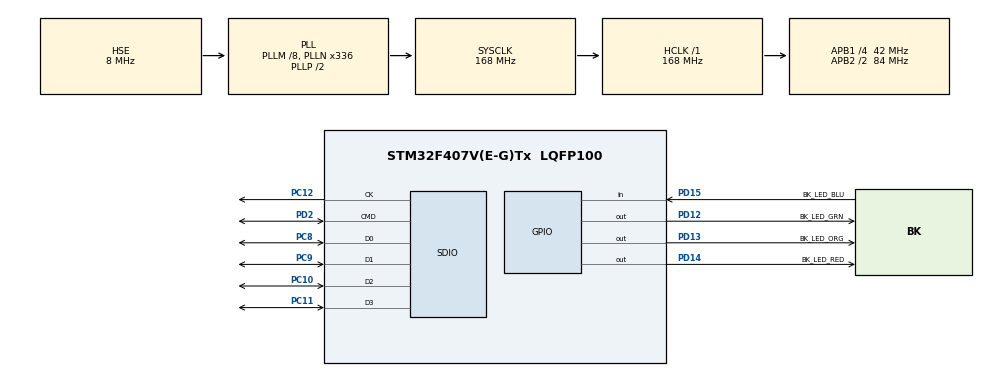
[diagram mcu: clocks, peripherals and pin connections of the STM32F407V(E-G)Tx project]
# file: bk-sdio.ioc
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Mcu.Family=STM32F4
Mcu.Name=STM32F407V(E-G)Tx
Mcu.Package=LQFP100
NVIC.PriorityGroup=NVIC_PRIORITYGROUP_0
PC10.Mode=SD_4_bits_Wide_bus
PC10.Signal=SDIO_D2
PC11.Mode=SD_4_bits_Wide_bus
PC11.Signal=SDIO_D3
PC12.Mode=SD_4_bits_Wide_bus
PC12.Signal=SDIO_CK
PC8.Mode=SD_4_bits_Wide_bus
PC8.Signal=SDIO_D0
PC9.Mode=SD_4_bits_Wide_bus
PC9.Signal=SDIO_D1
PD12.GPIO_Label=BK_LED_GRN
PD12.Signal=GPIO_Output
PD13.GPIO_Label=BK_LED_ORG
PD13.Signal=GPIO_Output
PD14.GPIO_Label=BK_LED_RED
PD14.Signal=GPIO_Output
PD15.GPIO_Label=BK_LED_BLU
PD15.Signal=GPIO_Input
PD2.Mode=SD_4_bits_Wide_bus
PD2.Signal=SDIO_CMD
PH0-OSC_IN.Mode=HSE-External-Oscillator
PH0-OSC_IN.Signal=RCC_OSC_IN
PH1-OSC_OUT.Mode=HSE-External-Oscillator
PH1-OSC_OUT.Signal=RCC_OSC_OUT
ProjectManager.HeapSize=0x400
ProjectManager.StackSize=0x800
ProjectManager.TargetToolchain=TrueSTUDIO
RCC.48MHZClocksFreq_Value=48000000
RCC.AHBFreq_Value=168000000
RCC.APB1CLKDivider=RCC_HCLK_DIV4
RCC.APB1Freq_Value=42000000
RCC.APB1TimFreq_Value=84000000
RCC.APB2CLKDivider=RCC_HCLK_DIV2
RCC.APB2Freq_Value=84000000
RCC.APB2TimFreq_Value=168000000
RCC.CortexFreq_Value=168000000
RCC.HCLKFreq_Value=168000000
RCC.HSE_VALUE=8000000
RCC.HSI_VALUE=16000000
RCC.LSE_VALUE=32768
RCC.PLLM=8
RCC.PLLN=336
RCC.PLLQ=7
RCC.PLLSourceVirtual=RCC_PLLSOURCE_HSE
RCC.SYSCLKFreq_VALUE=168000000
RCC.SYSCLKSource=RCC_SYSCLKSOURCE_PLLCLK
RCC.VCOOutputFreq_Value=336000000
VP_FATFS_VS_SDIO.Mode=SDIO
board=STM32F4DISCOVERY

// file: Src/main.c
/**
  ******************************************************************************
  * File Name          : main.c
  * Description        : Main program body
  ******************************************************************************
  * This notice applies to any and all portions of this file
  * that are not between comment pairs USER CODE BEGIN and
  * USER CODE END. Other portions of this file, whether
  * inserted by the user or by software development tools
  * are owned by their respective copyright owners.
  *
  * Copyright (c) 2017 STMicroelectronics International N.V.
  * All rights reserved.
  *
  * Redistribution and use in source and binary forms, with or without
  * modification, are permitted, provided that the following conditions are met:
  *
  * 1. Redistribution of source code must retain the above copyright notice,
  *    this list of conditions and the following disclaimer.
  * 2. Redistributions in binary form must reproduce the above copyright notice,
  *    this list of conditions and the following disclaimer in the documentation
  *    and/or other materials provided with the distribution.
  * 3. Neither the name of STMicroelectronics nor the names of other
  *    contributors to this software may be used to endorse or promote products
  *    derived from this software without specific written permission.
  * 4. This software, including modifications and/or derivative works of this
  *    software, must execute solely and exclusively on microcontroller or
  *    microprocessor devices manufactured by or for STMicroelectronics.
  * 5. Redistribution and use of this software other than as permitted under
  *    this license is void and will automatically terminate your rights under
  *    this license.
  *
  * THIS SOFTWARE IS PROVIDED BY STMICROELECTRONICS AND CONTRIBUTORS "AS IS"
  * AND ANY EXPRESS, IMPLIED OR STATUTORY WARRANTIES, INCLUDING, BUT NOT
  * LIMITED TO, THE IMPLIED WARRANTIES OF MERCHANTABILITY, FITNESS FOR A
  * PARTICULAR PURPOSE AND NON-INFRINGEMENT OF THIRD PARTY INTELLECTUAL PROPERTY
  * RIGHTS ARE DISCLAIMED TO THE FULLEST EXTENT PERMITTED BY LAW. IN NO EVENT
  * SHALL STMICROELECTRONICS OR CONTRIBUTORS BE LIABLE FOR ANY DIRECT, INDIRECT,
  * INCIDENTAL, SPECIAL, EXEMPLARY, OR CONSEQUENTIAL DAMAGES (INCLUDING, BUT NOT
  * LIMITED TO, PROCUREMENT OF SUBSTITUTE GOODS OR SERVICES; LOSS OF USE, DATA,
  * OR PROFITS; OR BUSINESS INTERRUPTION) HOWEVER CAUSED AND ON ANY THEORY OF
  * LIABILITY, WHETHER IN CONTRACT, STRICT LIABILITY, OR TORT (INCLUDING
  * NEGLIGENCE OR OTHERWISE) ARISING IN ANY WAY OUT OF THE USE OF THIS SOFTWARE,
  * EVEN IF ADVISED OF THE POSSIBILITY OF SUCH DAMAGE.
  *
  ******************************************************************************
  */
#include "main.h"
#include "stm32f4xx_hal.h"
#include "fatfs.h"

SD_HandleTypeDef hsd;

/* USER CODE BEGIN PV */
/* Private variables ---------------------------------------------------------*/
FATFS SDFatFs; /* File system object for SD card logical drive */
FIL MyFile;
uint8_t pithre = 0;
/* File object */
const char wtext[] = "Hola Double Pithre";
/* USER CODE END PV */

void SystemClock_Config(void);
static void MX_GPIO_Init(void);
static void MX_SDIO_SD_Init(void);
void BK_SD_WRITE_DATA(void);
/* USER CODE BEGIN PFP */
/* Private function prototypes -----------------------------------------------*/

/* USER CODE END PFP */

int main(void)
{

  /* USER CODE BEGIN 1 */
  FRESULT res; /* FatFs function common result code */
  uint32_t byteswritten; /* File write/read counts */
  /* USER CODE END 1 */

  /* MCU Configuration----------------------------------------------------------*/

  /* Reset of all peripherals, Initializes the Flash interface and the Systick. */
  HAL_Init();

  /* Configure the system clock */
  SystemClock_Config();

  /* Initialize all configured peripherals */
  MX_GPIO_Init();
  MX_SDIO_SD_Init();
  MX_FATFS_Init();

  /* USER CODE BEGIN 2 */
  HAL_GPIO_WritePin(GPIOD, BK_LED_GRN_Pin|BK_LED_ORG_Pin|BK_LED_RED_Pin|
  BK_LED_BLU_Pin, GPIO_PIN_RESET);
  if(retSD == 0){

	res = f_mount(&SDFatFs, (TCHAR const*)SD_Path, 0);
	if( res != FR_OK){
	  while(1){
		 HAL_GPIO_TogglePin(GPIOD, BK_LED_RED_Pin);
		 HAL_Delay(3000);
	  };
	} else {
		res = f_open(&MyFile, "hola.log", FA_CREATE_ALWAYS | FA_WRITE);
		if( res != FR_OK){
		  /* 'bad.bk' file Open for write Error : set the red LED on */
		  if( res == FR_NO_FILESYSTEM ){
			  HAL_GPIO_WritePin(GPIOD, BK_LED_GRN_Pin, GPIO_PIN_SET );
			  if(f_mkfs((TCHAR const*)SD_Path, 0, 0) != FR_OK){
				  HAL_GPIO_WritePin(GPIOD, BK_LED_ORG_Pin, GPIO_PIN_SET);
			  }
		  }
		  while(1){
			 HAL_GPIO_TogglePin(GPIOD, BK_LED_RED_Pin );
			 HAL_Delay(1000);
		  };
		} else {
		  res = f_write(&MyFile, wtext, sizeof(wtext), (void *)&byteswritten);
		  f_printf(&MyFile, "%s", "\nf_print should be working you know.");
		  f_printf(&MyFile, "%s", "\nf_print should be working you know.");
		  f_printf(&MyFile, "%s", "\nf_print should be working you know.");
		  f_printf(&MyFile, "%s", "\nf_print should be working you know.");
		  f_printf(&MyFile, "%s", "\nf_print should be working you know.");
		  f_printf(&MyFile, "%s", "\nf_print should be working you know.");
		  f_printf(&MyFile, "%s", "\nf_print should be working you know.");
		  f_printf(&MyFile, "%s", "\nf_print should be working you know.");
		  f_printf(&MyFile, "%s", "\nf_print should be working you know.");
		  f_printf(&MyFile, "%s", "\nf_print should be working you know.");
		  f_printf(&MyFile, "%s", "\nf_print should be working you know.");
		  f_printf(&MyFile, "%s", "\nf_print should be working you know.");
		  f_printf(&MyFile, "%s", "\nf_print should be working you know.");
		  f_printf(&MyFile, "%s", "\nf_print should be working you know.");
		  f_printf(&MyFile, "%s", "\nf_print should be working you know.");
		  f_printf(&MyFile, "%s", "\nf_print should be working you know.");
		  if((byteswritten == 0) || (res != FR_OK)){
		    /* 'bad.bk' file Write or EOF Error : set the red LED on */
		    while(1){
		    	HAL_GPIO_TogglePin(GPIOD, BK_LED_RED_Pin );
		    	HAL_Delay(2000);
		    };
		  } else {
			pithre = 1;
			HAL_GPIO_WritePin(GPIOD, BK_LED_GRN_Pin, GPIO_PIN_SET);
			f_close(&MyFile);
		  }
		}
	}
  }
  /* USER CODE END 2 */

  /* Infinite loop */
  while (1)
  {

  }

}

/** System Clock Configuration
*/
void SystemClock_Config(void)
{

  RCC_OscInitTypeDef RCC_OscInitStruct;
  RCC_ClkInitTypeDef RCC_ClkInitStruct;

    /**Configure the main internal regulator output voltage
    */
  __HAL_RCC_PWR_CLK_ENABLE();

  __HAL_PWR_VOLTAGESCALING_CONFIG(PWR_REGULATOR_VOLTAGE_SCALE1);

    /**Initializes the CPU, AHB and APB busses clocks
    */
  RCC_OscInitStruct.OscillatorType = RCC_OSCILLATORTYPE_HSE;
  RCC_OscInitStruct.HSEState = RCC_HSE_ON;
  RCC_OscInitStruct.PLL.PLLState = RCC_PLL_ON;
  RCC_OscInitStruct.PLL.PLLSource = RCC_PLLSOURCE_HSE;
  RCC_OscInitStruct.PLL.PLLM = 8;
  RCC_OscInitStruct.PLL.PLLN = 336;
  RCC_OscInitStruct.PLL.PLLP = RCC_PLLP_DIV2;
  RCC_OscInitStruct.PLL.PLLQ = 7;
  if (HAL_RCC_OscConfig(&RCC_OscInitStruct) != HAL_OK)
  {
    _Error_Handler(__FILE__, __LINE__);
  }

    /**Initializes the CPU, AHB and APB busses clocks
    */
  RCC_ClkInitStruct.ClockType = RCC_CLOCKTYPE_HCLK|RCC_CLOCKTYPE_SYSCLK
                              |RCC_CLOCKTYPE_PCLK1|RCC_CLOCKTYPE_PCLK2;
  RCC_ClkInitStruct.SYSCLKSource = RCC_SYSCLKSOURCE_PLLCLK;
  RCC_ClkInitStruct.AHBCLKDivider = RCC_SYSCLK_DIV1;
  RCC_ClkInitStruct.APB1CLKDivider = RCC_HCLK_DIV4;
  RCC_ClkInitStruct.APB2CLKDivider = RCC_HCLK_DIV2;

  if (HAL_RCC_ClockConfig(&RCC_ClkInitStruct, FLASH_LATENCY_5) != HAL_OK)
  {
    _Error_Handler(__FILE__, __LINE__);
  }

    /**Configure the Systick interrupt time
    */
  HAL_SYSTICK_Config(HAL_RCC_GetHCLKFreq()/1000);

    /**Configure the Systick
    */
  HAL_SYSTICK_CLKSourceConfig(SYSTICK_CLKSOURCE_HCLK);

  /* SysTick_IRQn interrupt configuration */
  HAL_NVIC_SetPriority(SysTick_IRQn, 0, 0);
}

/* SDIO init function */
static void MX_SDIO_SD_Init(void)
{

  hsd.Instance = SDIO;
  hsd.Init.ClockEdge = SDIO_CLOCK_EDGE_RISING;
  hsd.Init.ClockBypass = SDIO_CLOCK_BYPASS_DISABLE;
  hsd.Init.ClockPowerSave = SDIO_CLOCK_POWER_SAVE_DISABLE;
  hsd.Init.BusWide = SDIO_BUS_WIDE_1B;
  hsd.Init.HardwareFlowControl = SDIO_HARDWARE_FLOW_CONTROL_DISABLE;
  hsd.Init.ClockDiv = 0;

}

/** Configure pins as
        * Analog
        * Input
        * Output
        * EVENT_OUT
        * EXTI
*/
static void MX_GPIO_Init(void)
{

  GPIO_InitTypeDef GPIO_InitStruct;

  /* GPIO Ports Clock Enable */
  __HAL_RCC_GPIOH_CLK_ENABLE();
  __HAL_RCC_GPIOD_CLK_ENABLE();
  __HAL_RCC_GPIOC_CLK_ENABLE();

  /*Configure GPIO pin Output Level */
  HAL_GPIO_WritePin(GPIOD, BK_LED_GRN_Pin|BK_LED_ORG_Pin|BK_LED_RED_Pin, GPIO_PIN_RESET);

  /*Configure GPIO pins : BK_LED_GRN_Pin BK_LED_ORG_Pin BK_LED_RED_Pin */
  GPIO_InitStruct.Pin = BK_LED_GRN_Pin|BK_LED_ORG_Pin|BK_LED_RED_Pin;
  GPIO_InitStruct.Mode = GPIO_MODE_OUTPUT_PP;
  GPIO_InitStruct.Pull = GPIO_NOPULL;
  GPIO_InitStruct.Speed = GPIO_SPEED_FREQ_LOW;
  HAL_GPIO_Init(GPIOD, &GPIO_InitStruct);

  /*Configure GPIO pin : BK_LED_BLU_Pin */
  GPIO_InitStruct.Pin = BK_LED_BLU_Pin;
  GPIO_InitStruct.Mode = GPIO_MODE_INPUT;
  GPIO_InitStruct.Pull = GPIO_NOPULL;
  HAL_GPIO_Init(BK_LED_BLU_GPIO_Port, &GPIO_InitStruct);

}

/* USER CODE BEGIN 4 */
void BK_SD_WRITE_DATA(void) {

}
/* USER CODE END 4 */

void _Error_Handler(char * file, int line)
{
  while(1)
  {
  }
}

/************************ (C) COPYRIGHT STMicroelectronics *****END OF FILE****/
